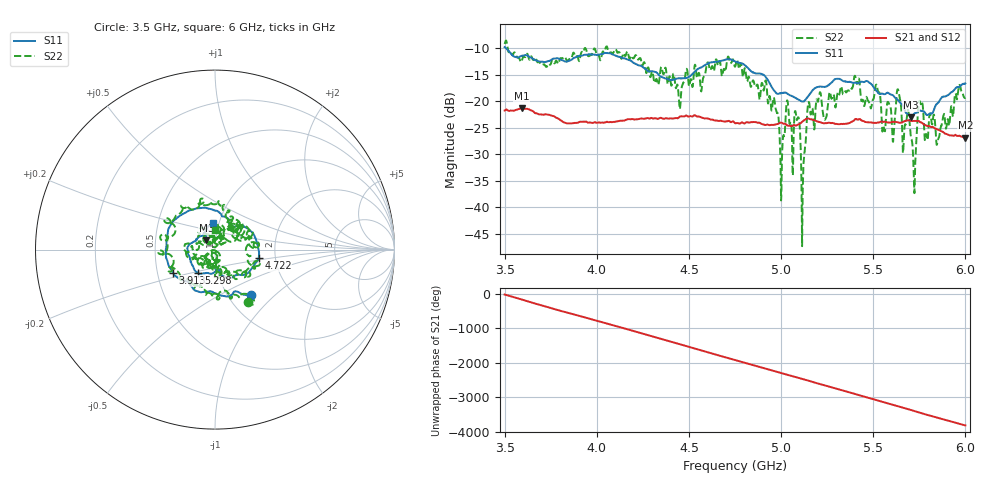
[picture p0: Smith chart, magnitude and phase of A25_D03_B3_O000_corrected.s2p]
! Created with skrf 1.9.0 (http://scikit-rf.org).
# Hz S RI R 50.0
!freq ReS11 ImS11 ReS21 ImS21 ReS12 ImS12 ReS22 ImS22
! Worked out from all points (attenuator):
!   1601 points, 3.5 GHz to 6 GHz, reference 50 ohm
!   highest |S21| = -21.38 dB at 3.592 GHz (marker M1); lowest = -26.9 dB at 6 GHz (marker M2)
!   lowest |S11| = -23.1 dB at 5.705 GHz (marker M3), VSWR 1.15, Z = 45.2 + j4.62 ohm
!   |S11| at or under -10 dB: 3.506 GHz to end of sweep
!   |S22| runs from -47.3 to -8.6 dB; largest |S21 - S12| = 0.00096
!   S11 on the Smith chart (normalised r, x): 3.5 GHz: 1.27, -0.72; 3.913 GHz: 0.60, -0.17; 4.722 GHz: 1.63, -0.16; 5.298 GHz: 0.80, -0.22; 6 GHz: 0.94, +0.28
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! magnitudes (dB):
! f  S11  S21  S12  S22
! 3.5 GHz  -9.8  -21.8  -21.7  -9.3
! 3.592 GHz  -11.5  -21.4  -21.4  -12.5
! 3.913 GHz  -11.5  -23.9  -23.8  -11.2
! 3.917 GHz  -11.5  -23.9  -23.9  -10.8
! 4.334 GHz  -15.0  -23.3  -23.3  -16.9
! 4.722 GHz  -12.1  -23.8  -23.8  -12.7
! 4.75 GHz  -12.5  -24.2  -24.1  -13.5
! 4.967 GHz  -18.2  -24.4  -24.4  -20.6
! 5.005 GHz  -18.4  -24.1  -24.1  -31.0
! 5.031 GHz  -18.5  -24.5  -24.4  -20.0
! 5.086 GHz  -19.5  -24.5  -24.5  -23.6
! 5.119 GHz  -20.1  -23.8  -23.7  -34.9
! 5.145 GHz  -19.2  -23.3  -23.2  -20.8
! 5.167 GHz  -18.1  -23.4  -23.4  -21.4
! 5.298 GHz  -15.8  -24.3  -24.3  -20.6
! 5.584 GHz  -18.5  -24.0  -24.0  -20.4
! 5.638 GHz  -19.9  -24.0  -24.0  -18.2
! 5.705 GHz  -23.1  -23.7  -23.7  -26.8
! 5.722 GHz  -22.4  -23.7  -23.7  -36.3
! 5.756 GHz  -21.8  -24.0  -23.9  -20.6
! 5.852 GHz  -20.3  -25.4  -25.3  -27.2
! 6 GHz  -16.7  -26.9  -26.8  -19.3
